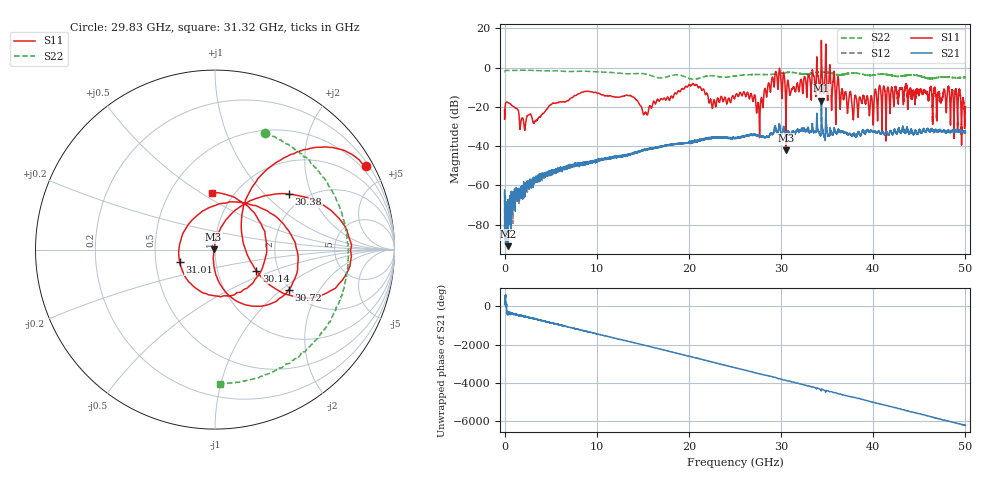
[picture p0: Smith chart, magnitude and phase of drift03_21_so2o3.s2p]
!Created with skrf (http://scikit-rf.org).
# Hz S RI R 50.0
!freq ReS11 ImS11 ReS21 ImS21 ReS12 ImS12 ReS22 ImS22
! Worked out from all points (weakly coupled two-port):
!   10001 points, 300 kHz to 50 GHz, reference 50 ohm
!   highest |S21| = -16.80 dB at 34.37 GHz (marker M1); lowest = -90.9 dB at 345.3 MHz (marker M2)
!   lowest |S11| = -42.2 dB at 30.53 GHz (marker M3), VSWR 1.02, Z = 49.2 + j0.178 ohm
!   |S11| at or under -10 dB: start of sweep to 19.56 GHz; 21.25 GHz to 28.55 GHz (7.296 GHz wide, 29.3 % of centre); 36.29 GHz to 40.63 GHz (4.341 GHz wide, 11.3 % of centre) (the widest 3 of 37)
!   |S22| runs from -5.9 to -1.3 dB; largest |S21 - S12| = 0.028
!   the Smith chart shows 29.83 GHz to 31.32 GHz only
!   S11 on the Smith chart (normalised r, x): 29.83 GHz: 0.34, +3.85; 30.14 GHz: 1.54, -0.39; 30.38 GHz: 1.67, +1.40; 30.72 GHz: 1.96, -1.13; 31.01 GHz: 0.66, -0.10; 31.32 GHz: 0.79, +0.56
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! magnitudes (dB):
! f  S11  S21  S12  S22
! 300 kHz  -21.5  -62.3  -63.3  -2.0
! 345.3 MHz  -17.8  -90.9  -85.3  -1.4
! 3.3 GHz  -27.3  -57.1  -57.6  -1.5
! 8.335 GHz  -12.6  -48.5  -48.8  -1.9
! 15.29 GHz  -22.8  -42.0  -41.8  -3.3
! 16.67 GHz  -16.5  -40.4  -40.7  -5.2
! 20.26 GHz  -9.1  -38.3  -38.3  -5.8
! 22.71 GHz  -16.4  -35.6  -35.4  -4.2
! 25 GHz  -15.3  -36.0  -35.9  -4.3
! 27.53 GHz  -17.9  -34.4  -34.6  -3.5
! 29.83 GHz  -0.4  -29.2  -28.5  -3.0
! 30.14 GHz  -11.8  -33.2  -33.4  -2.8
! 30.38 GHz  -5.8  -32.6  -32.6  -2.7
! 30.53 GHz  -42.2  -34.1  -34.1  -2.6
! 30.72 GHz  -6.6  -32.9  -32.7  -2.5
! 31.01 GHz  -13.6  -34.2  -34.2  -2.5
! 31.32 GHz  -10.0  -32.6  -32.3  -2.5
! 33.34 GHz  -7.4  -31.3  -31.1  -2.9
! 34.37 GHz  13.8  -16.8  -18.2  -2.3
! 37.85 GHz  -26.4  -34.0  -34.2  -2.8
! 41.67 GHz  -11.6  -34.3  -34.2  -3.6
! 50 GHz  -19.9  -33.0  -32.6  -5.0
